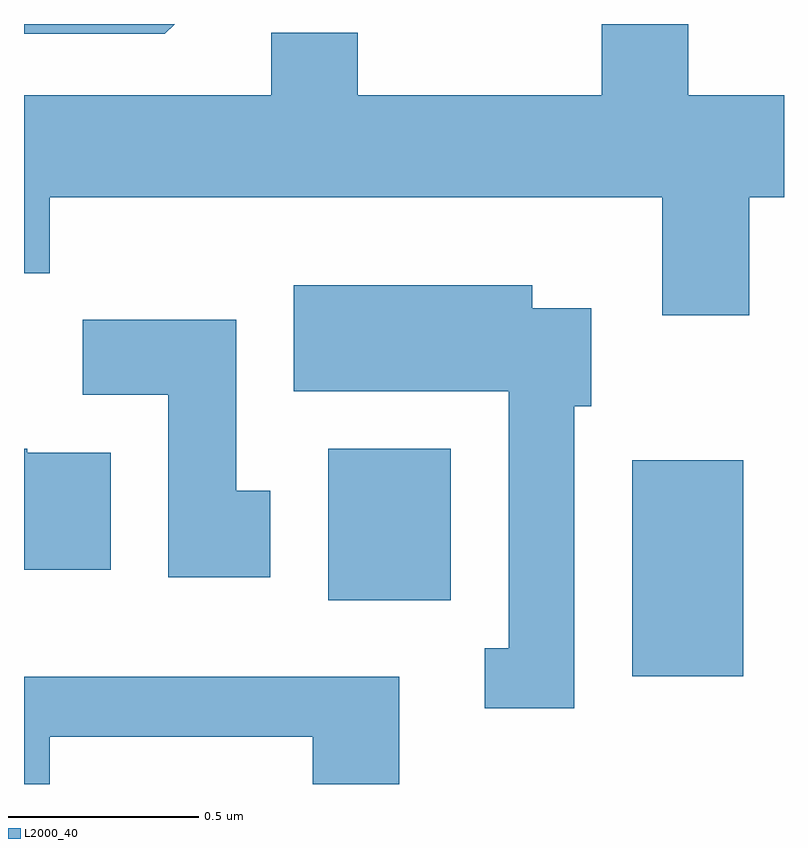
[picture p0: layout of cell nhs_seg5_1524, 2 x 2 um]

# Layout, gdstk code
import gdstk
lib = gdstk.Library(unit=1e-6, precision=1e-09)
def R(c, l, rs):  # rectangles x0, y0, x1, y1
    for r in rs: c.add(gdstk.rectangle(r[:2], r[2:], *l))
def P(c, l, *ps):  # polygons
    for p in ps: c.add(gdstk.Polygon(p, *l))
L2000_40 = (2000, 40)

nhs_seg5_1524 = lib.new_cell('nhs_seg5_1524')
R(nhs_seg5_1524, L2000_40, [(198.211,1413.356,198.504,1413.924), (197.411,1413.556,197.734,1413.954)])
P(nhs_seg5_1524, L2000_40, [(198.519,1414.616),(198.611,1414.616),(198.611,1414.884),(198.359,1414.884),(198.359,1415.072),(198.131,1415.072),(198.131,1414.884),(197.489,1414.884),(197.489,1415.049),(197.261,1415.049),(197.261,1414.884),(196.611,1414.884),(196.611,1414.416),(196.679,1414.416),(196.679,1414.616),(198.291,1414.616),(198.291,1414.306),(198.519,1414.306)],
  [(197.008,1415.072),(196.611,1415.072),(196.611,1415.046),(196.982,1415.046)],
  [(198.059,1414.066),(198.104,1414.066),(198.104,1414.324),(197.949,1414.324),(197.949,1414.384),(197.321,1414.384),(197.321,1414.106),(197.886,1414.106),(197.886,1413.429),(197.823,1413.429),(197.823,1413.271),(198.059,1413.271)],
  [(197.259,1413.844),(197.169,1413.844),(197.169,1414.294),(196.766,1414.294),(196.766,1414.096),(196.991,1414.096),(196.991,1413.616),(197.259,1413.616)],
  [(196.839,1413.944),(196.62,1413.944),(196.62,1413.954),(196.611,1413.954),(196.611,1413.636),(196.839,1413.636)],
  [(196.679,1413.196),(197.371,1413.196),(197.371,1413.072),(197.599,1413.072),(197.599,1413.354),(196.611,1413.354),(196.611,1413.072),(196.679,1413.072)])

lib.write_gds('nhs_seg5_1524.gds')
